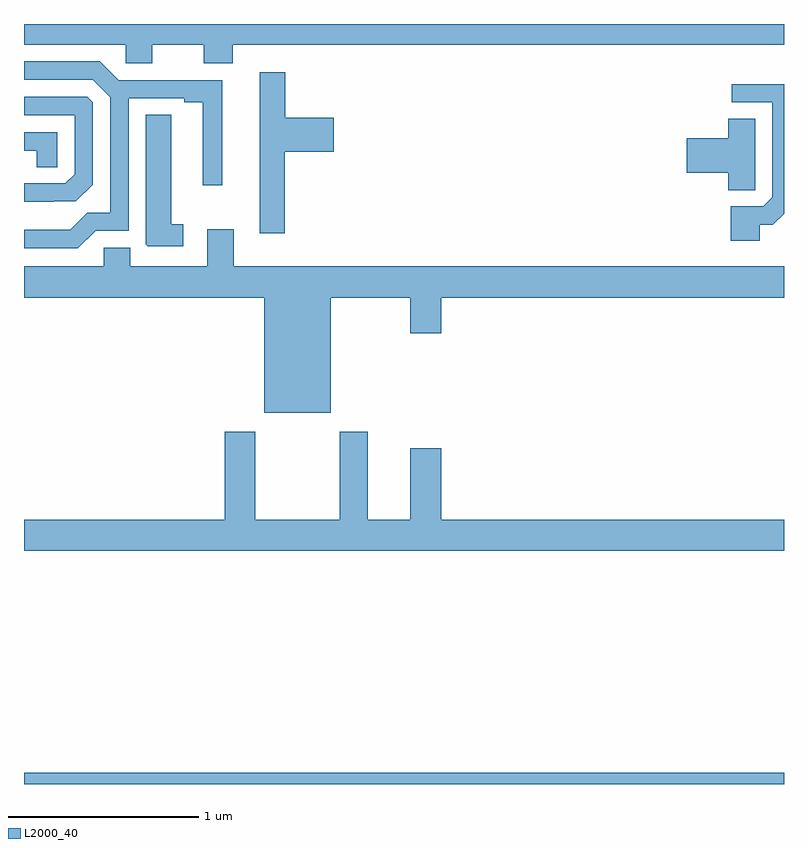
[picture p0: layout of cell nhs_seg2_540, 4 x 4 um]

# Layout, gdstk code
import gdstk
lib = gdstk.Library(unit=1e-6, precision=1e-09)
def R(c, l, rs):  # rectangles x0, y0, x1, y1
    for r in rs: c.add(gdstk.rectangle(r[:2], r[2:], *l))
def P(c, l, *ps):  # polygons
    for p in ps: c.add(gdstk.Polygon(p, *l))
L2000_40 = (2000, 40)

nhs_seg2_540 = lib.new_cell('nhs_seg2_540')
R(nhs_seg2_540, L2000_40, [(139,587.8,143,587.86)])
P(nhs_seg2_540, L2000_40, [(140.099,591.692),(143,591.692),(143,591.8),(139,591.8),(139,591.692),(139.536,591.692),(139.536,591.594),(139.675,591.594),(139.675,591.692),(139.946,591.692),(139.946,591.593),(140.099,591.593)],
  [(139.377,590.712),(139.551,590.712),(139.551,591.408),(139.844,591.408),(139.844,591.388),(139.94,591.388),(139.94,590.952),(140.044,590.952),(140.044,591.504),(139.498,591.504),(139.399,591.603),(139,591.603),(139,591.507),(139.362,591.507),(139.455,591.414),(139.455,590.807),(139.334,590.807),(139.243,590.716),(139,590.716),(139,590.619),(139.284,590.619)],
  [(140.372,591.128),(140.629,591.128),(140.629,591.306),(140.375,591.306),(140.375,591.547),(140.24,591.547),(140.24,590.7),(140.372,590.7)],
  [(142.873,590.743),(142.941,590.743),(143,590.801),(143,591.483),(142.725,591.483),(142.725,591.387),(142.938,591.387),(142.938,590.889),(142.89,590.841),(142.721,590.841),(142.721,590.658),(142.873,590.658)],
  [(139.157,590.866),(139.273,590.866),(139.362,590.955),(139.362,591.387),(139.332,591.417),(139,591.417),(139,591.321),(139.266,591.321),(139.266,591.009),(139.218,590.961),(139,590.961),(139,590.864),(139.157,590.864)],
  [(139.837,590.747),(139.774,590.747),(139.774,591.323),(139.64,591.323),(139.64,590.641),(139.65,590.631),(139.837,590.631)],
  [(142.848,591.034),(142.849,591.034),(142.849,591.302),(142.706,591.302),(142.706,591.2),(142.488,591.2),(142.488,591.017),(142.706,591.017),(142.706,590.926),(142.848,590.926)],
  [(139.176,591.231),(139,591.231),(139,591.134),(139.068,591.134),(139.068,591.046),(139.176,591.046)],
  [(140.614,590.36),(141.032,590.36),(141.032,590.172),(141.196,590.172),(141.196,590.36),(143,590.36),(143,590.524),(140.104,590.524),(140.104,590.719),(139.964,590.719),(139.964,590.524),(139.558,590.524),(139.558,590.622),(139.419,590.622),(139.419,590.524),(139,590.524),(139,590.36),(140.264,590.36),(140.264,589.754),(140.614,589.754)],
  [(143,589.192),(141.196,589.192),(141.196,589.567),(141.032,589.567),(141.032,589.192),(140.809,589.192),(140.809,589.654),(140.662,589.654),(140.662,589.192),(140.217,589.192),(140.217,589.654),(140.057,589.654),(140.057,589.192),(139,589.192),(139,589.028),(143,589.028)])

lib.write_gds('nhs_seg2_540.gds')
